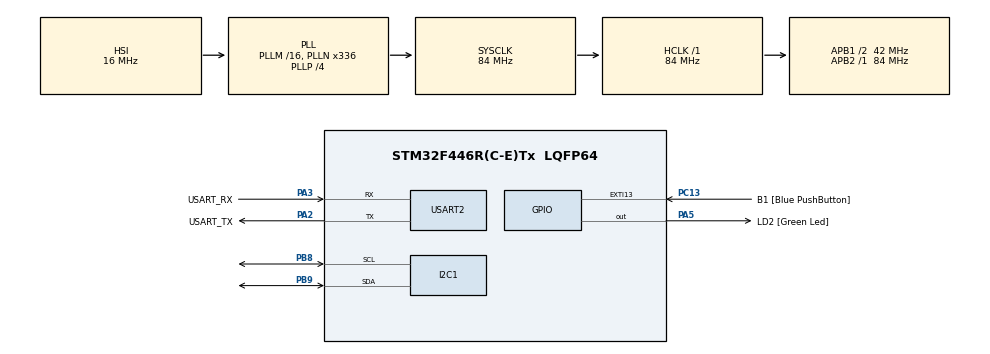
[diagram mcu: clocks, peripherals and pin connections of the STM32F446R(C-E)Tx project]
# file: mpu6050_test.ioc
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Mcu.Family=STM32F4
Mcu.Name=STM32F446R(C-E)Tx
Mcu.Package=LQFP64
NVIC.PriorityGroup=NVIC_PRIORITYGROUP_0
PA13.GPIO_Label=TMS
PA13.Mode=Serial_Wire
PA13.Signal=SYS_JTMS-SWDIO
PA14.GPIO_Label=TCK
PA14.Mode=Serial_Wire
PA14.Signal=SYS_JTCK-SWCLK
PA2.GPIO_Label=USART_TX
PA2.Mode=Asynchronous
PA2.Signal=USART2_TX
PA3.GPIO_Label=USART_RX
PA3.Mode=Asynchronous
PA3.Signal=USART2_RX
PA5.GPIO_Label=LD2 [Green Led]
PA5.Signal=GPIO_Output
PB3.GPIO_Label=SWO
PB3.Signal=SYS_JTDO-SWO
PB8.Mode=I2C
PB8.Signal=I2C1_SCL
PB9.Mode=I2C
PB9.Signal=I2C1_SDA
PC13.GPIO_Label=B1 [Blue PushButton]
PC13.GPIO_ModeDefaultEXTI=GPIO_MODE_IT_FALLING
PC13.Signal=GPXTI13
PC14-OSC32_IN.Mode=LSE-External-Oscillator
PC14-OSC32_IN.Signal=RCC_OSC32_IN
PC15-OSC32_OUT.Mode=LSE-External-Oscillator
PC15-OSC32_OUT.Signal=RCC_OSC32_OUT
PH0-OSC_IN.Mode=HSE-External-Oscillator
PH0-OSC_IN.Signal=RCC_OSC_IN
PH1-OSC_OUT.Mode=HSE-External-Oscillator
PH1-OSC_OUT.Signal=RCC_OSC_OUT
ProjectManager.HeapSize=0x200
ProjectManager.StackSize=0x400
ProjectManager.TargetToolchain=STM32CubeIDE
RCC.48MHZClocksFreq_Value=84000000
RCC.AHBFreq_Value=84000000
RCC.APB1CLKDivider=RCC_HCLK_DIV2
RCC.APB1Freq_Value=42000000
RCC.APB1TimFreq_Value=84000000
RCC.APB2Freq_Value=84000000
RCC.APB2TimFreq_Value=84000000
RCC.CortexFreq_Value=84000000
RCC.FLatency-AdvancedSettings=FLASH_LATENCY_2
RCC.HCLKFreq_Value=84000000
RCC.HSE_VALUE=8000000
RCC.HSI_VALUE=16000000
RCC.PLLN=336
RCC.PLLP=RCC_PLLP_DIV4
RCC.SYSCLKFreq_VALUE=84000000
RCC.SYSCLKSource=RCC_SYSCLKSOURCE_PLLCLK
RCC.USBFreq_Value=168000000
RCC.VCOOutputFreq_Value=336000000
USART2.VirtualMode=VM_ASYNC
board=NUCLEO-F446RE

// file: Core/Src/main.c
/* USER CODE BEGIN Header */
/**
  ******************************************************************************
  * @file           : main.c
  * @brief          : Main program body
  ******************************************************************************
  * @attention
  *
  * Copyright (c) 2024 STMicroelectronics.
  * All rights reserved.
  *
  * This software is licensed under terms that can be found in the LICENSE file
  * in the root directory of this software component.
  * If no LICENSE file comes with this software, it is provided AS-IS.
  *
  ******************************************************************************
  */
/* USER CODE END Header */
#include "main.h"

/* USER CODE BEGIN Includes */
#include <stdio.h>
#include <stdint.h>
#include "mpu6050.h"
/* USER CODE END Includes */

I2C_HandleTypeDef hi2c1;

UART_HandleTypeDef huart2;

void SystemClock_Config(void);
static void MX_GPIO_Init(void);
static void MX_USART2_UART_Init(void);
static void MX_I2C1_Init(void);

int main(void)
{

  /* MCU Configuration--------------------------------------------------------*/

  /* Reset of all peripherals, Initializes the Flash interface and the Systick. */
  HAL_Init();

  /* Configure the system clock */
  SystemClock_Config();

  /* Initialize all configured peripherals */
  MX_GPIO_Init();
  MX_USART2_UART_Init();
  MX_I2C1_Init();
  /* USER CODE BEGIN 2 */

  mpu6050_init();

  short ax;
  short ay;
  short az;

  short gx;
  short gy;
  short gz;

  short t;
  /* USER CODE END 2 */

  /* Infinite loop */
  /* USER CODE BEGIN WHILE */
  while (1)
  {
	ax = mpu6050_accx();
	ay = mpu6050_accy();
	az = mpu6050_accz();

	gx = mpu6050_gyrox();
	gy = mpu6050_gyroy();
	gz = mpu6050_gyroz();

	t = mpu6050_temp();

	HAL_Delay(100);
    /* USER CODE END WHILE */

  }
}

void SystemClock_Config(void)
{
  RCC_OscInitTypeDef RCC_OscInitStruct = {0};
  RCC_ClkInitTypeDef RCC_ClkInitStruct = {0};

  /** Configure the main internal regulator output voltage
  */
  __HAL_RCC_PWR_CLK_ENABLE();
  __HAL_PWR_VOLTAGESCALING_CONFIG(PWR_REGULATOR_VOLTAGE_SCALE3);

  /** Initializes the RCC Oscillators according to the specified parameters
  * in the RCC_OscInitTypeDef structure.
  */
  RCC_OscInitStruct.OscillatorType = RCC_OSCILLATORTYPE_HSI;
  RCC_OscInitStruct.HSIState = RCC_HSI_ON;
  RCC_OscInitStruct.HSICalibrationValue = RCC_HSICALIBRATION_DEFAULT;
  RCC_OscInitStruct.PLL.PLLState = RCC_PLL_ON;
  RCC_OscInitStruct.PLL.PLLSource = RCC_PLLSOURCE_HSI;
  RCC_OscInitStruct.PLL.PLLM = 16;
  RCC_OscInitStruct.PLL.PLLN = 336;
  RCC_OscInitStruct.PLL.PLLP = RCC_PLLP_DIV4;
  RCC_OscInitStruct.PLL.PLLQ = 2;
  RCC_OscInitStruct.PLL.PLLR = 2;
  if (HAL_RCC_OscConfig(&RCC_OscInitStruct) != HAL_OK)
  {
    Error_Handler();
  }

  /** Initializes the CPU, AHB and APB buses clocks
  */
  RCC_ClkInitStruct.ClockType = RCC_CLOCKTYPE_HCLK|RCC_CLOCKTYPE_SYSCLK
                              |RCC_CLOCKTYPE_PCLK1|RCC_CLOCKTYPE_PCLK2;
  RCC_ClkInitStruct.SYSCLKSource = RCC_SYSCLKSOURCE_PLLCLK;
  RCC_ClkInitStruct.AHBCLKDivider = RCC_SYSCLK_DIV1;
  RCC_ClkInitStruct.APB1CLKDivider = RCC_HCLK_DIV2;
  RCC_ClkInitStruct.APB2CLKDivider = RCC_HCLK_DIV1;

  if (HAL_RCC_ClockConfig(&RCC_ClkInitStruct, FLASH_LATENCY_2) != HAL_OK)
  {
    Error_Handler();
  }
}

static void MX_I2C1_Init(void)
{

  hi2c1.Instance = I2C1;
  hi2c1.Init.ClockSpeed = 100000;
  hi2c1.Init.DutyCycle = I2C_DUTYCYCLE_2;
  hi2c1.Init.OwnAddress1 = 0;
  hi2c1.Init.AddressingMode = I2C_ADDRESSINGMODE_7BIT;
  hi2c1.Init.DualAddressMode = I2C_DUALADDRESS_DISABLE;
  hi2c1.Init.OwnAddress2 = 0;
  hi2c1.Init.GeneralCallMode = I2C_GENERALCALL_DISABLE;
  hi2c1.Init.NoStretchMode = I2C_NOSTRETCH_DISABLE;
  if (HAL_I2C_Init(&hi2c1) != HAL_OK)
  {
    Error_Handler();
  }

}

static void MX_USART2_UART_Init(void)
{

  huart2.Instance = USART2;
  huart2.Init.BaudRate = 115200;
  huart2.Init.WordLength = UART_WORDLENGTH_8B;
  huart2.Init.StopBits = UART_STOPBITS_1;
  huart2.Init.Parity = UART_PARITY_NONE;
  huart2.Init.Mode = UART_MODE_TX_RX;
  huart2.Init.HwFlowCtl = UART_HWCONTROL_NONE;
  huart2.Init.OverSampling = UART_OVERSAMPLING_16;
  if (HAL_UART_Init(&huart2) != HAL_OK)
  {
    Error_Handler();
  }

}

static void MX_GPIO_Init(void)
{
  GPIO_InitTypeDef GPIO_InitStruct = {0};

  /* GPIO Ports Clock Enable */
  __HAL_RCC_GPIOC_CLK_ENABLE();
  __HAL_RCC_GPIOH_CLK_ENABLE();
  __HAL_RCC_GPIOA_CLK_ENABLE();
  __HAL_RCC_GPIOB_CLK_ENABLE();

  /*Configure GPIO pin Output Level */
  HAL_GPIO_WritePin(LD2_GPIO_Port, LD2_Pin, GPIO_PIN_RESET);

  /*Configure GPIO pin : B1_Pin */
  GPIO_InitStruct.Pin = B1_Pin;
  GPIO_InitStruct.Mode = GPIO_MODE_IT_FALLING;
  GPIO_InitStruct.Pull = GPIO_NOPULL;
  HAL_GPIO_Init(B1_GPIO_Port, &GPIO_InitStruct);

  /*Configure GPIO pin : LD2_Pin */
  GPIO_InitStruct.Pin = LD2_Pin;
  GPIO_InitStruct.Mode = GPIO_MODE_OUTPUT_PP;
  GPIO_InitStruct.Pull = GPIO_NOPULL;
  GPIO_InitStruct.Speed = GPIO_SPEED_FREQ_LOW;
  HAL_GPIO_Init(LD2_GPIO_Port, &GPIO_InitStruct);

}

/* USER CODE BEGIN 4 */
int _write(int file, char *ptr, int len)
{
  (void)file;
  int DataIdx;

  for (DataIdx = 0; DataIdx < len; DataIdx++)
  {
    ITM_SendChar(*ptr++);
  }
  return len;
}
/* USER CODE END 4 */

void Error_Handler(void)
{
  __disable_irq();
  while (1)
  {
  }
}
